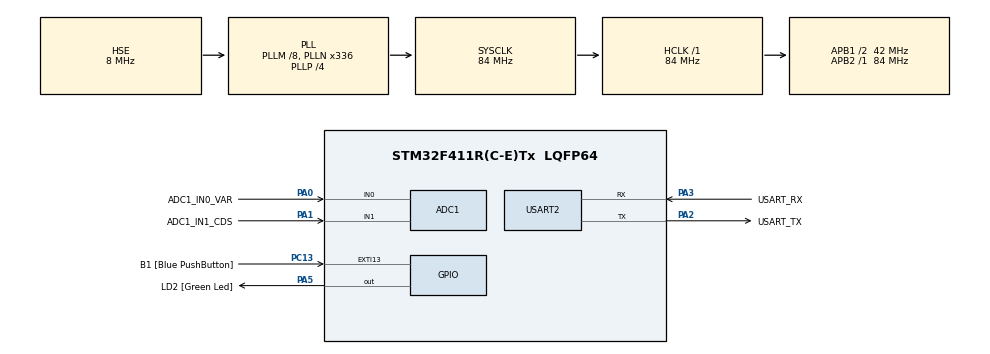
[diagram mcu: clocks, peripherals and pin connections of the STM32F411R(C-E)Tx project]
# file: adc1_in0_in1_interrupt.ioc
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ADC1.Channel-0\#ChannelRegularConversion=ADC_CHANNEL_0
ADC1.Channel-1\#ChannelRegularConversion=ADC_CHANNEL_1
ADC1.ClockPrescaler=ADC_CLOCK_SYNC_PCLK_DIV6
ADC1.NbrOfConversion=2
ADC1.NbrOfConversionFlag=1
ADC1.Rank-0\#ChannelRegularConversion=1
ADC1.Rank-1\#ChannelRegularConversion=2
ADC1.SamplingTime-0\#ChannelRegularConversion=ADC_SAMPLETIME_28CYCLES
ADC1.SamplingTime-1\#ChannelRegularConversion=ADC_SAMPLETIME_28CYCLES
ADC1.ScanConvMode=ENABLE
ADC1.master=1
Mcu.Family=STM32F4
Mcu.Name=STM32F411R(C-E)Tx
Mcu.Package=LQFP64
NVIC.ADC_IRQn=true\:0\:0\:false\:false\:true\:true\:true\:true
NVIC.PriorityGroup=NVIC_PRIORITYGROUP_0
PA0-WKUP.GPIO_Label=ADC1_IN0_VAR
PA0-WKUP.Signal=ADCx_IN0
PA1.GPIO_Label=ADC1_IN1_CDS
PA1.Signal=ADCx_IN1
PA13.GPIO_Label=TMS
PA13.Mode=Serial_Wire
PA13.Signal=SYS_JTMS-SWDIO
PA14.GPIO_Label=TCK
PA14.Mode=Serial_Wire
PA14.Signal=SYS_JTCK-SWCLK
PA2.GPIO_Label=USART_TX
PA2.Mode=Asynchronous
PA2.Signal=USART2_TX
PA3.GPIO_Label=USART_RX
PA3.Mode=Asynchronous
PA3.Signal=USART2_RX
PA5.GPIO_Label=LD2 [Green Led]
PA5.Signal=GPIO_Output
PB3.GPIO_Label=SWO
PB3.Signal=SYS_JTDO-SWO
PC13-ANTI_TAMP.GPIO_Label=B1 [Blue PushButton]
PC13-ANTI_TAMP.GPIO_ModeDefaultEXTI=GPIO_MODE_IT_FALLING
PC13-ANTI_TAMP.Signal=GPXTI13
PC14-OSC32_IN.Mode=LSE-External-Oscillator
PC14-OSC32_IN.Signal=RCC_OSC32_IN
PC15-OSC32_OUT.Mode=LSE-External-Oscillator
PC15-OSC32_OUT.Signal=RCC_OSC32_OUT
PH0\ -\ OSC_IN.Mode=HSE-External-Oscillator
PH0\ -\ OSC_IN.Signal=RCC_OSC_IN
PH1\ -\ OSC_OUT.Mode=HSE-External-Oscillator
PH1\ -\ OSC_OUT.Signal=RCC_OSC_OUT
ProjectManager.HeapSize=0x200
ProjectManager.StackSize=0x400
ProjectManager.TargetToolchain=STM32CubeIDE
RCC.48MHZClocksFreq_Value=84000000
RCC.AHBFreq_Value=84000000
RCC.APB1CLKDivider=RCC_HCLK_DIV2
RCC.APB1Freq_Value=42000000
RCC.APB1TimFreq_Value=84000000
RCC.APB2Freq_Value=84000000
RCC.APB2TimFreq_Value=84000000
RCC.CortexFreq_Value=84000000
RCC.FLatency-AdvancedSettings=FLASH_LATENCY_2
RCC.HCLKFreq_Value=84000000
RCC.HSE_VALUE=8000000
RCC.HSI_VALUE=16000000
RCC.PLLM=8
RCC.PLLN=336
RCC.PLLP=RCC_PLLP_DIV4
RCC.PLLSourceVirtual=RCC_PLLSOURCE_HSE
RCC.SYSCLKFreq_VALUE=84000000
RCC.SYSCLKSource=RCC_SYSCLKSOURCE_PLLCLK
RCC.VCOOutputFreq_Value=336000000
SH.ADCx_IN0.0=ADC1_IN0,IN0
SH.ADCx_IN1.0=ADC1_IN1,IN1
USART2.VirtualMode=VM_ASYNC
board=NUCLEO-F411RE

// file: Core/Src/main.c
/* USER CODE BEGIN Header */
/**
  ******************************************************************************
  * @file           : main.c
  * @brief          : Main program body
  ******************************************************************************
  * @attention
  *
  * Copyright (c) 2024 STMicroelectronics.
  * All rights reserved.
  *
  * This software is licensed under terms that can be found in the LICENSE file
  * in the root directory of this software component.
  * If no LICENSE file comes with this software, it is provided AS-IS.
  *
  ******************************************************************************
  */
/* USER CODE END Header */
#include "main.h"

/* USER CODE BEGIN Includes */
#include <stdio.h>
/* USER CODE END Includes */

/* USER CODE BEGIN PD */
#ifdef __GNUC__
/* With GCC, small printf (option LD Linker->Libraries->Small printf
   set to 'Yes') calls __io_putchar() */
#define PUTCHAR_PROTOTYPE int __io_putchar(int ch)
#else
#define PUTCHAR_PROTOTYPE int fputc(int ch, FILE *f)
#endif /* __GNUC__ */
/* USER CODE END PD */

ADC_HandleTypeDef hadc1;

UART_HandleTypeDef huart2;

/* USER CODE BEGIN PV */
__IO uint16_t ADCxConvertValue[2]={0};
__IO int adcFlag;
/* USER CODE END PV */

void SystemClock_Config(void);
static void MX_GPIO_Init(void);
static void MX_USART2_UART_Init(void);
static void MX_ADC1_Init(void);

int main(void)
{

  /* MCU Configuration--------------------------------------------------------*/

  /* Reset of all peripherals, Initializes the Flash interface and the Systick. */
  HAL_Init();

  /* Configure the system clock */
  SystemClock_Config();

  /* Initialize all configured peripherals */
  MX_GPIO_Init();
  MX_USART2_UART_Init();
  MX_ADC1_Init();
  /* USER CODE BEGIN 2 */
  printf("start main() - adc interrupt\n\r");
  if(HAL_ADC_Start_IT(&hadc1) != HAL_OK)
  {
	  Error_Handler();
  }
  /* USER CODE END 2 */

  /* Infinite loop */
  /* USER CODE BEGIN WHILE */
  while (1)
  {
	  if(adcFlag)
	  {
		  adcFlag = 0;
		  printf("VAR=%4d, CDS=%4d\r\n", ADCxConvertValue[0],ADCxConvertValue[1]);
	  }

	  if(HAL_ADC_Start(&hadc1) != HAL_OK)
	  {
		  Error_Handler();
	  }
	  HAL_Delay(100);
    /* USER CODE END WHILE */

  }
}

void SystemClock_Config(void)
{
  RCC_OscInitTypeDef RCC_OscInitStruct = {0};
  RCC_ClkInitTypeDef RCC_ClkInitStruct = {0};

  /** Configure the main internal regulator output voltage
  */
  __HAL_RCC_PWR_CLK_ENABLE();
  __HAL_PWR_VOLTAGESCALING_CONFIG(PWR_REGULATOR_VOLTAGE_SCALE1);

  /** Initializes the RCC Oscillators according to the specified parameters
  * in the RCC_OscInitTypeDef structure.
  */
  RCC_OscInitStruct.OscillatorType = RCC_OSCILLATORTYPE_HSE;
  RCC_OscInitStruct.HSEState = RCC_HSE_ON;
  RCC_OscInitStruct.PLL.PLLState = RCC_PLL_ON;
  RCC_OscInitStruct.PLL.PLLSource = RCC_PLLSOURCE_HSE;
  RCC_OscInitStruct.PLL.PLLM = 8;
  RCC_OscInitStruct.PLL.PLLN = 336;
  RCC_OscInitStruct.PLL.PLLP = RCC_PLLP_DIV4;
  RCC_OscInitStruct.PLL.PLLQ = 4;
  if (HAL_RCC_OscConfig(&RCC_OscInitStruct) != HAL_OK)
  {
    Error_Handler();
  }

  /** Initializes the CPU, AHB and APB buses clocks
  */
  RCC_ClkInitStruct.ClockType = RCC_CLOCKTYPE_HCLK|RCC_CLOCKTYPE_SYSCLK
                              |RCC_CLOCKTYPE_PCLK1|RCC_CLOCKTYPE_PCLK2;
  RCC_ClkInitStruct.SYSCLKSource = RCC_SYSCLKSOURCE_PLLCLK;
  RCC_ClkInitStruct.AHBCLKDivider = RCC_SYSCLK_DIV1;
  RCC_ClkInitStruct.APB1CLKDivider = RCC_HCLK_DIV2;
  RCC_ClkInitStruct.APB2CLKDivider = RCC_HCLK_DIV1;

  if (HAL_RCC_ClockConfig(&RCC_ClkInitStruct, FLASH_LATENCY_2) != HAL_OK)
  {
    Error_Handler();
  }
}

static void MX_ADC1_Init(void)
{

  ADC_ChannelConfTypeDef sConfig = {0};

  /** Configure the global features of the ADC (Clock, Resolution, Data Alignment and number of conversion)
  */
  hadc1.Instance = ADC1;
  hadc1.Init.ClockPrescaler = ADC_CLOCK_SYNC_PCLK_DIV6;
  hadc1.Init.Resolution = ADC_RESOLUTION_12B;
  hadc1.Init.ScanConvMode = ENABLE;
  hadc1.Init.ContinuousConvMode = DISABLE;
  hadc1.Init.DiscontinuousConvMode = DISABLE;
  hadc1.Init.ExternalTrigConvEdge = ADC_EXTERNALTRIGCONVEDGE_NONE;
  hadc1.Init.ExternalTrigConv = ADC_SOFTWARE_START;
  hadc1.Init.DataAlign = ADC_DATAALIGN_RIGHT;
  hadc1.Init.NbrOfConversion = 2;
  hadc1.Init.DMAContinuousRequests = DISABLE;
  hadc1.Init.EOCSelection = ADC_EOC_SINGLE_CONV;
  if (HAL_ADC_Init(&hadc1) != HAL_OK)
  {
    Error_Handler();
  }

  /** Configure for the selected ADC regular channel its corresponding rank in the sequencer and its sample time.
  */
  sConfig.Channel = ADC_CHANNEL_0;
  sConfig.Rank = 1;
  sConfig.SamplingTime = ADC_SAMPLETIME_28CYCLES;
  if (HAL_ADC_ConfigChannel(&hadc1, &sConfig) != HAL_OK)
  {
    Error_Handler();
  }

  /** Configure for the selected ADC regular channel its corresponding rank in the sequencer and its sample time.
  */
  sConfig.Channel = ADC_CHANNEL_1;
  sConfig.Rank = 2;
  if (HAL_ADC_ConfigChannel(&hadc1, &sConfig) != HAL_OK)
  {
    Error_Handler();
  }

}

static void MX_USART2_UART_Init(void)
{

  huart2.Instance = USART2;
  huart2.Init.BaudRate = 115200;
  huart2.Init.WordLength = UART_WORDLENGTH_8B;
  huart2.Init.StopBits = UART_STOPBITS_1;
  huart2.Init.Parity = UART_PARITY_NONE;
  huart2.Init.Mode = UART_MODE_TX_RX;
  huart2.Init.HwFlowCtl = UART_HWCONTROL_NONE;
  huart2.Init.OverSampling = UART_OVERSAMPLING_16;
  if (HAL_UART_Init(&huart2) != HAL_OK)
  {
    Error_Handler();
  }

}

static void MX_GPIO_Init(void)
{
  GPIO_InitTypeDef GPIO_InitStruct = {0};

  /* GPIO Ports Clock Enable */
  __HAL_RCC_GPIOC_CLK_ENABLE();
  __HAL_RCC_GPIOH_CLK_ENABLE();
  __HAL_RCC_GPIOA_CLK_ENABLE();
  __HAL_RCC_GPIOB_CLK_ENABLE();

  /*Configure GPIO pin Output Level */
  HAL_GPIO_WritePin(LD2_GPIO_Port, LD2_Pin, GPIO_PIN_RESET);

  /*Configure GPIO pin : B1_Pin */
  GPIO_InitStruct.Pin = B1_Pin;
  GPIO_InitStruct.Mode = GPIO_MODE_IT_FALLING;
  GPIO_InitStruct.Pull = GPIO_NOPULL;
  HAL_GPIO_Init(B1_GPIO_Port, &GPIO_InitStruct);

  /*Configure GPIO pin : LD2_Pin */
  GPIO_InitStruct.Pin = LD2_Pin;
  GPIO_InitStruct.Mode = GPIO_MODE_OUTPUT_PP;
  GPIO_InitStruct.Pull = GPIO_NOPULL;
  GPIO_InitStruct.Speed = GPIO_SPEED_FREQ_LOW;
  HAL_GPIO_Init(LD2_GPIO_Port, &GPIO_InitStruct);

}

/* USER CODE BEGIN 4 */
PUTCHAR_PROTOTYPE
{
  /* Place your implementation of fputc here */
  /* e.g. write a character to the USART6 and Loop until the end of transmission */
  HAL_UART_Transmit(&huart2, (uint8_t *)&ch, 1, 0xFFFF);

  return ch;
}
void HAL_ADC_ConvCpltCallback(ADC_HandleTypeDef *AdcHandle)
{
	static int ch = 0;

	if(!ch)
	{
		ADCxConvertValue[ch] = HAL_ADC_GetValue(AdcHandle);
		ch = 1;
	}
	else if(ch == 1)
	{
		ADCxConvertValue[ch] = HAL_ADC_GetValue(AdcHandle);
		ch = 0;
		adcFlag = 1;
	}
}
/* USER CODE END 4 */

void Error_Handler(void)
{
  __disable_irq();
  while (1)
  {
  }
}
